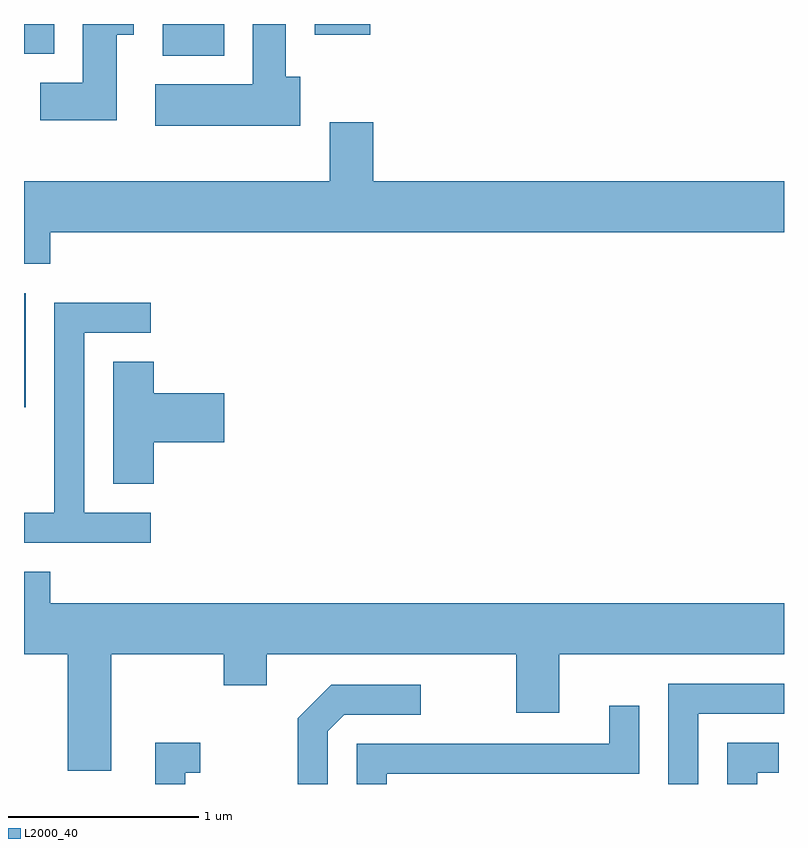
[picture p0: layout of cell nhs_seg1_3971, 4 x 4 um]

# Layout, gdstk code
import gdstk
lib = gdstk.Library(unit=1e-6, precision=1e-09)
def R(c, l, rs):  # rectangles x0, y0, x1, y1
    for r in rs: c.add(gdstk.rectangle(r[:2], r[2:], *l))
def P(c, l, *ps):  # polygons
    for p in ps: c.add(gdstk.Polygon(p, *l))
L2000_40 = (2000, 40)

nhs_seg1_3971 = lib.new_cell('nhs_seg1_3971')
R(nhs_seg1_3971, L2000_40, [(303.611,969.696,303.619,970.294), (304.341,971.546,304.664,971.712), (303.611,971.556,303.769,971.712), (305.141,971.656,305.434,971.712)])
P(nhs_seg1_3971, L2000_40, [(304.099,971.656),(304.189,971.656),(304.189,971.712),(303.921,971.712),(303.921,971.404),(303.696,971.404),(303.696,971.206),(304.099,971.206)],
  [(305.064,971.434),(304.989,971.434),(304.989,971.712),(304.816,971.712),(304.816,971.394),(304.301,971.394),(304.301,971.176),(305.064,971.176)],
  [(303.749,970.616),(307.611,970.616),(307.611,970.884),(305.449,970.884),(305.449,971.194),(305.221,971.194),(305.221,970.884),(303.611,970.884),(303.611,970.451),(303.749,970.451)],
  [(304.278,969.139),(303.929,969.139),(303.929,970.086),(304.278,970.086),(304.278,970.244),(303.771,970.244),(303.771,969.139),(303.611,969.139),(303.611,968.981),(304.278,968.981)],
  [(304.294,969.511),(304.664,969.511),(304.664,969.769),(304.294,969.769),(304.294,969.934),(304.081,969.934),(304.081,969.291),(304.294,969.291)],
  [(304.069,968.396),(304.661,968.396),(304.661,968.231),(304.889,968.231),(304.889,968.396),(306.201,968.396),(306.201,968.086),(306.429,968.086),(306.429,968.396),(307.611,968.396),(307.611,968.664),(303.749,968.664),(303.749,968.829),(303.611,968.829),(303.611,968.396),(303.841,968.396),(303.841,967.781),(304.069,967.781)],
  [(307.159,968.081),(307.611,968.081),(307.611,968.239),(307.001,968.239),(307.001,967.712),(307.159,967.712)],
  [(305.209,967.989),(305.297,968.076),(305.698,968.076),(305.698,968.234),(305.229,968.234),(305.051,968.057),(305.051,967.712),(305.209,967.712)],
  [(305.519,967.766),(306.849,967.766),(306.849,968.123),(306.691,968.123),(306.691,967.924),(305.361,967.924),(305.361,967.712),(305.519,967.712)],
  [(304.459,967.771),(304.538,967.771),(304.538,967.929),(304.301,967.929),(304.301,967.712),(304.459,967.712)],
  [(307.469,967.771),(307.583,967.771),(307.583,967.929),(307.311,967.929),(307.311,967.712),(307.469,967.712)])

lib.write_gds('nhs_seg1_3971.gds')
